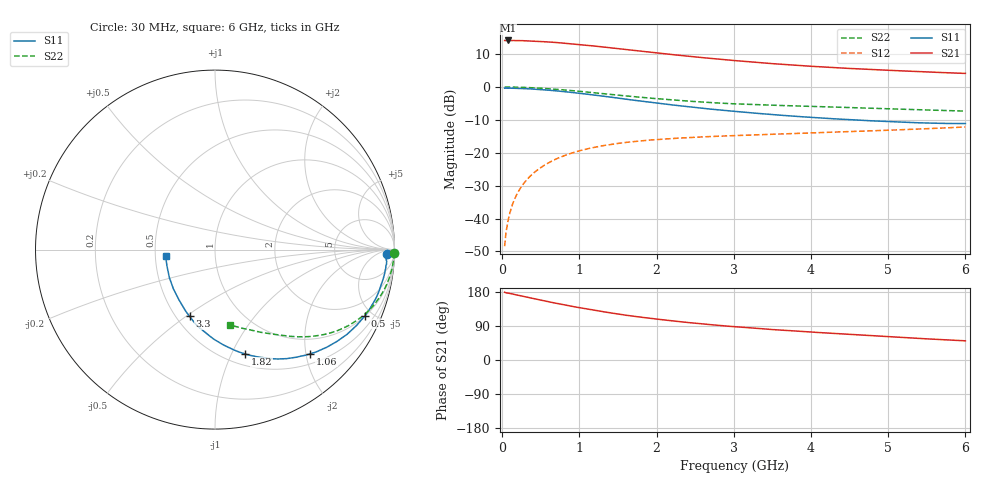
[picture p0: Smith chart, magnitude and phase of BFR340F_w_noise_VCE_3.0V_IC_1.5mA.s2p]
! Infineon Technologies  Discrete & RF Semiconductors
! BFR340F
! VCE =  3.0 V,  IC =  1.5 mA
! Common Emitter S-Parameters:  Nov 2015
# GHz  S  MA  R  50
!  f  S11  S21  S12  S22
! GHz  MAG  ANG  MAG  ANG  MAG  ANG  MAG  ANG
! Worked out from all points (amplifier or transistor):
!   206 points, 30 MHz to 6 GHz, reference 50 ohm
!   highest |S21| = 14.1 dB at 70 MHz (marker M1)
!   |S21| within 3 dB of that: start of sweep to 1.697 GHz
!   unconditionally stable (mu >= 1): 5.152 GHz to end of sweep
!   at 200 MHz: K = 0.05, MSG = 23.1 dB, |S12| = -32.1 dB
!   at 1.56 GHz: K = 0.43, MSG = 14.2 dB, |S12| = -17.0 dB
!   at 6 GHz: K = 1.03, MAG = 7.1 dB, |S12| = -12.2 dB
!   lowest NFmin = 1.04 dB at 1.9 GHz
!   S11 on the Smith chart (normalised r, x): 30 MHz: 35, -20; 500 MHz: 1.02, -4.55; 1.06 GHz: 0.69, -2.09; 1.82 GHz: 0.61, -1.13; 3.3 GHz: 0.58, -0.52; 6 GHz: 0.57, -0.04
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0.03  0.9573 -1.4  5.092 178.8  0.0038 89.5  0.9973 -1.0
0.05  0.9581 -2.6  5.054 177.1  0.0064 87.2  0.9967 -1.6
0.07  0.9552 -3.4  5.094 176.5  0.0087 87.3  0.9972 -2.3
0.13  0.9568 -6.3  5.076 174.4  0.0162 86.0  0.9949 -4.2
0.22  0.9494 -10.6  5.068 170.2  0.0271 83.2  0.9894 -7.1
0.36  0.9354 -17.3  5.007 164.1  0.0439 79.2  0.9758 -11.6
0.5  0.9137 -23.7  4.911 158.0  0.0597 75.2  0.9566 -15.8
0.64  0.8858 -30.0  4.794 152.0  0.0745 71.3  0.9327 -19.9
0.78  0.8552 -36.0  4.655 146.3  0.0882 67.9  0.9057 -23.8
1.04  0.7918 -46.7  4.367 136.6  0.1101 61.9  0.85 -30.2
1.06  0.7867 -47.5  4.343 135.9  0.1116 61.5  0.8456 -30.7
1.2  0.7518 -52.9  4.182 130.9  0.1215 58.7  0.8147 -33.8
1.4  0.7017 -60.3  3.941 124.4  0.1335 55.2  0.7714 -37.8
1.6  0.6516 -67.1  3.715 118.2  0.1435 52.2  0.7314 -41.2
1.82  0.6052 -73.9  3.472 112.4  0.1525 49.6  0.6922 -44.6
2.02  0.566 -79.7  3.273 107.5  0.1593 47.6  0.6612 -47.2
2.56  0.4784 -94.2  2.818 95.9  0.1735 44.2  0.5928 -53.3
3.1  0.4167 -106.9  2.47 86.5  0.1838 42.5  0.5491 -58.1
3.3  0.3976 -110.9  2.363 83.5  0.1872 42.2  0.5382 -59.5
4.1  0.339 -127.5  2.031 72.5  0.2014 42.5  0.5034 -64.1
5.1  0.2944 -150.7  1.772 60.4  0.2221 44.0  0.4617 -71.3
6  0.278 -172.6  1.606 50.6  0.2465 45.9  0.4296 -78.6
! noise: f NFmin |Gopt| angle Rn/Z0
1.9  1.04  0.61  14  0.55
